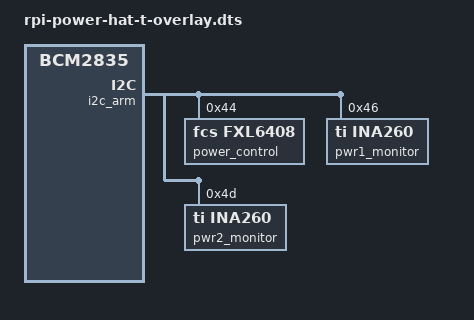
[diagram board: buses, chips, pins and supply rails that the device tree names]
// SPDX-License-Identifier: (GPL-2.0 OR MIT)
/dts-v1/;
/plugin/;

// Overlay for the Raspberry Pi Power Hat.
// 2 of 2 overlays required for top/bottom interchangeability

/ {
	compatible = "brcm,bcm2835";

	fragment@0 {
		target = <&i2c_arm>;
		__overlay__ {

			#address-cells = <1>;
			#size-cells = <0>;
			status = "okay";

			power_control: fxl6408@44 {
				reg = <0x44>;
				compatible = "fcs,fxl6408";
				gpio-controller;
				#gpio-cells = <2>;
				gpio-line-names =
					"T1_PWR",
					"T2_PWR",
					"T3",
					"T4",
					"T5",
					"T6",
					"T7",
					"T8";
			};

			pwr1_monitor: ina260@46 {
				reg = <0x46>;
				compatible = "ti,ina260";
			};

			pwr2_monitor: ina260@4d {
				reg = <0x4d>;
				compatible = "ti,ina260";
			};
		};
	};

	fragment@1 {
		target-path = "/";
		__overlay__ {
			rpi_power_hat_t: rpi-power-hat-t {
				compatible = "raspberrypi,rpi-power-hat-t";

				// References to the I2C devices
				power-controller = <&power_control>;
				power1-monitor = <&pwr1_monitor>;
				power2-monitor = <&pwr2_monitor>;
			};
		};
	};
};
